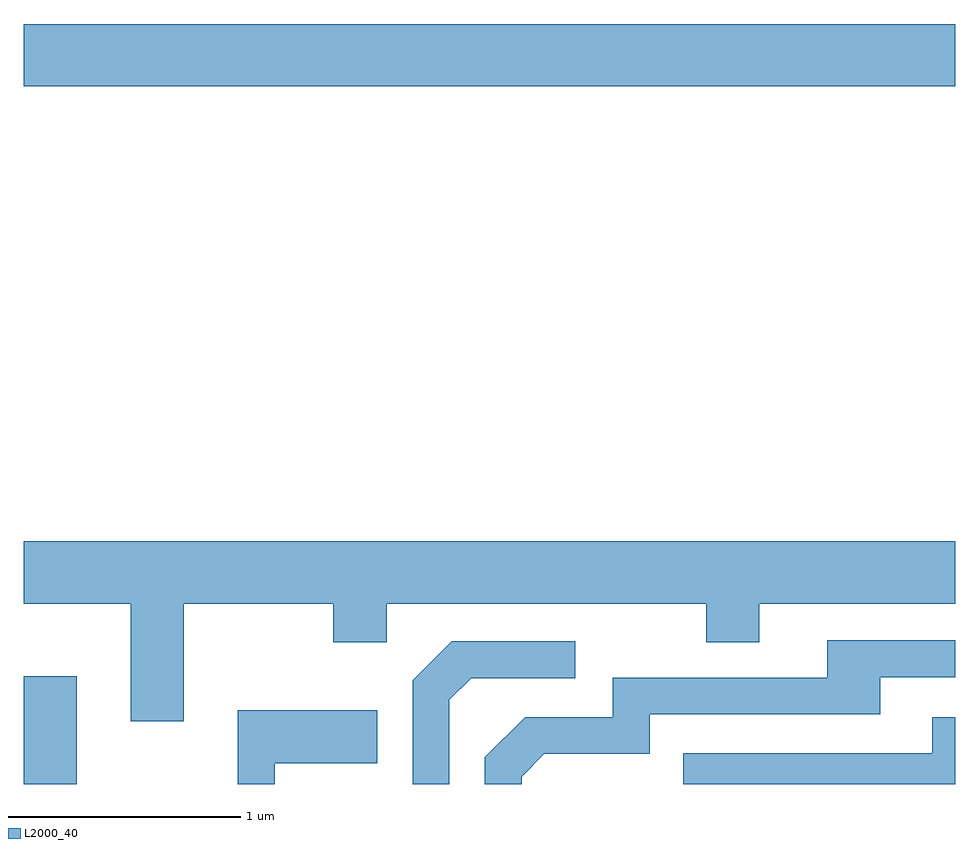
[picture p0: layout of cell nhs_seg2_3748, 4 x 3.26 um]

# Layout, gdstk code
import gdstk
lib = gdstk.Library(unit=1e-6, precision=1e-09)
def R(c, l, rs):  # rectangles x0, y0, x1, y1
    for r in rs: c.add(gdstk.rectangle(r[:2], r[2:], *l))
def P(c, l, *ps):  # polygons
    for p in ps: c.add(gdstk.Polygon(p, *l))
L2000_40 = (2000, 40)

nhs_seg2_3748 = lib.new_cell('nhs_seg2_3748')
R(nhs_seg2_3748, L2000_40, [(295.611,1009.802,295.839,1010.264), (295.611,1012.796,299.611,1013.064)])
P(nhs_seg2_3748, L2000_40, [(295.611,1010.576),(296.071,1010.576),(296.071,1010.071),(296.299,1010.071),(296.299,1010.576),(296.941,1010.576),(296.941,1010.411),(297.169,1010.411),(297.169,1010.576),(298.541,1010.576),(298.541,1010.411),(298.769,1010.411),(298.769,1010.576),(299.611,1010.576),(299.611,1010.844),(295.611,1010.844)],
  [(297.749,1009.834),(297.847,1009.931),(298.299,1009.931),(298.299,1010.101),(299.289,1010.101),(299.289,1010.261),(299.611,1010.261),(299.611,1010.419),(299.061,1010.419),(299.061,1010.259),(298.141,1010.259),(298.141,1010.089),(297.764,1010.089),(297.591,1009.917),(297.591,1009.802),(297.749,1009.802)],
  [(297.439,1010.164),(297.532,1010.256),(297.978,1010.256),(297.978,1010.414),(297.449,1010.414),(297.281,1010.247),(297.281,1009.802),(297.439,1009.802)],
  [(296.689,1009.891),(297.129,1009.891),(297.129,1010.119),(296.531,1010.119),(296.531,1009.802),(296.689,1009.802)],
  [(299.611,1010.089),(299.511,1010.089),(299.511,1009.934),(298.443,1009.934),(298.443,1009.802),(299.611,1009.802)])

lib.write_gds('nhs_seg2_3748.gds')
